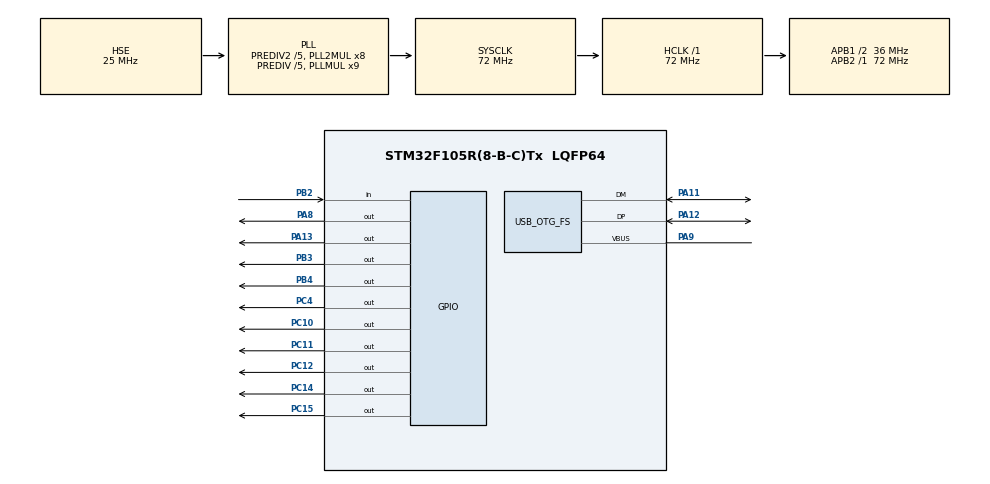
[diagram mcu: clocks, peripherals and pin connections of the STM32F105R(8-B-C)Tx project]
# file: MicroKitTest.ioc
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Mcu.Family=STM32F1
Mcu.Name=STM32F105R(8-B-C)Tx
Mcu.Package=LQFP64
NVIC.OTG_FS_IRQn=true\:0\:0\:false\:false\:true
NVIC.PriorityGroup=NVIC_PRIORITYGROUP_4
PA11.Mode=Device_Only
PA11.Signal=USB_OTG_FS_DM
PA12.Mode=Device_Only
PA12.Signal=USB_OTG_FS_DP
PA13.GPIO_Speed=GPIO_SPEED_FREQ_MEDIUM
PA13.PinState=GPIO_PIN_SET
PA13.Signal=GPIO_Output
PA8.PinState=GPIO_PIN_RESET
PA8.Signal=GPIO_Output
PA9.Mode=Activate_VBUS
PA9.Signal=USB_OTG_FS_VBUS
PB2.Signal=GPIO_Input
PB3.GPIO_Speed=GPIO_SPEED_FREQ_MEDIUM
PB3.PinState=GPIO_PIN_SET
PB3.Signal=GPIO_Output
PB4.GPIO_Speed=GPIO_SPEED_FREQ_MEDIUM
PB4.PinState=GPIO_PIN_SET
PB4.Signal=GPIO_Output
PC10.PinState=GPIO_PIN_SET
PC10.Signal=GPIO_Output
PC11.PinState=GPIO_PIN_SET
PC11.Signal=GPIO_Output
PC12.Signal=GPIO_Output
PC14-OSC32_IN.GPIO_ModeDefaultOutputPP=GPIO_MODE_OUTPUT_OD
PC14-OSC32_IN.PinState=GPIO_PIN_SET
PC14-OSC32_IN.Signal=GPIO_Output
PC15-OSC32_OUT.PinState=GPIO_PIN_SET
PC15-OSC32_OUT.Signal=GPIO_Output
PC4.Signal=GPIO_Output
PD0-OSC_IN.Mode=HSE-External-Oscillator
PD0-OSC_IN.Signal=RCC_OSC_IN
PD1-OSC_OUT.Mode=HSE-External-Oscillator
PD1-OSC_OUT.Signal=RCC_OSC_OUT
ProjectManager.HeapSize=0x200
ProjectManager.StackSize=0x400
ProjectManager.TargetToolchain=SW4STM32
RCC.AHBFreq_Value=72000000
RCC.APB1CLKDivider=RCC_HCLK_DIV2
RCC.APB1Freq_Value=36000000
RCC.APB1TimFreq_Value=72000000
RCC.APB2Freq_Value=72000000
RCC.APB2TimFreq_Value=72000000
RCC.HCLKFreq_Value=72000000
RCC.HSEDivPLL=RCC_HSE_PREDIV_DIV5
RCC.HSE_VALUE=25000000
RCC.HSIState=RCC_HSI_ON
RCC.PLLMUL=RCC_PLL_MUL9
RCC.Prediv1Source=RCC_PREDIV1_SOURCE_PLL2
RCC.Prediv2=RCC_HSE_PREDIV2_DIV5
RCC.SYSCLKFreq_VALUE=72000000
RCC.SYSCLKSource=RCC_SYSCLKSOURCE_PLLCLK
RCC.USBFreq_Value=48000000
USB_DEVICE.CLASS_NAME_FS=CDC
USB_DEVICE.USBD_HandleTypeDef=hUsbDeviceFS
USB_DEVICE.VirtualMode=Cdc
USB_DEVICE.VirtualModeFS=Cdc_FS
USB_OTG_FS.VirtualMode=Device_Only
USB_OTG_FS.vbus_sensing_enable=ENABLE
VP_SYS_VS_ND.Mode=No_Debug
VP_USB_DEVICE_VS_USB_DEVICE_CDC_FS.Mode=CDC_FS
board=MicroKitTest

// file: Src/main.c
/**
  ******************************************************************************
  * File Name          : main.c
  * Description        : Main program body
  ******************************************************************************
  *
  * COPYRIGHT(c) 2016 STMicroelectronics
  *
  * Redistribution and use in source and binary forms, with or without modification,
  * are permitted provided that the following conditions are met:
  *   1. Redistributions of source code must retain the above copyright notice,
  *      this list of conditions and the following disclaimer.
  *   2. Redistributions in binary form must reproduce the above copyright notice,
  *      this list of conditions and the following disclaimer in the documentation
  *      and/or other materials provided with the distribution.
  *   3. Neither the name of STMicroelectronics nor the names of its contributors
  *      may be used to endorse or promote products derived from this software
  *      without specific prior written permission.
  *
  * THIS SOFTWARE IS PROVIDED BY THE COPYRIGHT HOLDERS AND CONTRIBUTORS "AS IS"
  * AND ANY EXPRESS OR IMPLIED WARRANTIES, INCLUDING, BUT NOT LIMITED TO, THE
  * IMPLIED WARRANTIES OF MERCHANTABILITY AND FITNESS FOR A PARTICULAR PURPOSE ARE
  * DISCLAIMED. IN NO EVENT SHALL THE COPYRIGHT HOLDER OR CONTRIBUTORS BE LIABLE
  * FOR ANY DIRECT, INDIRECT, INCIDENTAL, SPECIAL, EXEMPLARY, OR CONSEQUENTIAL
  * DAMAGES (INCLUDING, BUT NOT LIMITED TO, PROCUREMENT OF SUBSTITUTE GOODS OR
  * SERVICES; LOSS OF USE, DATA, OR PROFITS; OR BUSINESS INTERRUPTION) HOWEVER
  * CAUSED AND ON ANY THEORY OF LIABILITY, WHETHER IN CONTRACT, STRICT LIABILITY,
  * OR TORT (INCLUDING NEGLIGENCE OR OTHERWISE) ARISING IN ANY WAY OUT OF THE USE
  * OF THIS SOFTWARE, EVEN IF ADVISED OF THE POSSIBILITY OF SUCH DAMAGE.
  *
  ******************************************************************************
  */
#include "stm32f1xx_hal.h"
#include "usb_device.h"
#include "gpio.h"

/* USER CODE BEGIN PV */
/* Private variables ---------------------------------------------------------*/

/* USER CODE END PV */

void SystemClock_Config(void);

/* USER CODE BEGIN PFP */
/* Private function prototypes -----------------------------------------------*/

/* USER CODE END PFP */

int main(void)
{

  /* MCU Configuration----------------------------------------------------------*/

  /* Reset of all peripherals, Initializes the Flash interface and the Systick. */
  HAL_Init();

  /* Configure the system clock */
  SystemClock_Config();

  /* Initialize all configured peripherals */
  MX_GPIO_Init();
  MX_USB_DEVICE_Init();

  /* Infinite loop */
  /* USER CODE BEGIN WHILE */

  /*Configure GPIO pin Output Level */

  //__HAL_RCC_GPIOB_CLK_ENABLE();
  //__HAL_RCC_GPIOC_CLK_ENABLE();

  uint8_t HiMsg[]="hello\r\n";
  int set = 0;
  HAL_Delay(1000);
  HAL_GPIO_WritePin(GPIOA, GPIO_PIN_8, GPIO_PIN_SET);
  HAL_Delay(1000);

  GPIO_InitTypeDef GPIO_InitStruct;
  /*Configure GPIO pin : PB2 */
  GPIO_InitStruct.Pin = GPIO_PIN_5;
  GPIO_InitStruct.Mode = GPIO_MODE_INPUT;
  GPIO_InitStruct.Pull = GPIO_NOPULL;
  HAL_GPIO_Init(GPIOB, &GPIO_InitStruct);

  //HAL_GPIO_WritePin(GPIOA, GPIO_PIN_8, GPIO_PIN_SET);
  while (1)
  {
  /* USER CODE END WHILE */

  /* USER CODE BEGIN 3 */
	  HAL_Delay(1000);
	  //HAL_GPIO_TogglePin(GPIOA, GPIO_PIN_13);
	  if (set == 0){
		  HAL_GPIO_WritePin(GPIOC, GPIO_PIN_15, GPIO_PIN_SET);
		  HAL_GPIO_WritePin(GPIOC, GPIO_PIN_10, GPIO_PIN_SET);
		  HAL_GPIO_WritePin(GPIOA, GPIO_PIN_13, GPIO_PIN_SET);
		  HAL_GPIO_WritePin(GPIOA, GPIO_PIN_14, GPIO_PIN_SET);
		  HAL_GPIO_WritePin(GPIOC, GPIO_PIN_11, GPIO_PIN_SET);
		  HAL_GPIO_WritePin(GPIOC, GPIO_PIN_12, GPIO_PIN_SET);
		  HAL_GPIO_WritePin(GPIOB, GPIO_PIN_3,GPIO_PIN_SET);
		  HAL_GPIO_WritePin(GPIOB, GPIO_PIN_4,GPIO_PIN_SET);
		  set = 1;
	  }
	  else{
		  set =0;
		  HAL_GPIO_WritePin(GPIOC, GPIO_PIN_15, GPIO_PIN_RESET);
		  HAL_GPIO_WritePin(GPIOC, GPIO_PIN_10, GPIO_PIN_RESET);
		  HAL_GPIO_WritePin(GPIOA, GPIO_PIN_13, GPIO_PIN_RESET);
		  HAL_GPIO_WritePin(GPIOA, GPIO_PIN_14, GPIO_PIN_RESET);
		  HAL_GPIO_WritePin(GPIOC, GPIO_PIN_11, GPIO_PIN_RESET);
		  HAL_GPIO_WritePin(GPIOC, GPIO_PIN_12, GPIO_PIN_RESET);
		  HAL_GPIO_WritePin(GPIOB, GPIO_PIN_3,GPIO_PIN_RESET);
		  HAL_GPIO_WritePin(GPIOB, GPIO_PIN_4,GPIO_PIN_RESET);
	  }
	  //CDC_Transmit_FS(HiMsg,strlen(HiMsg));
  }
  /* USER CODE END 3 */

}

/** System Clock Configuration
*/
void SystemClock_Config(void)
{

  RCC_OscInitTypeDef RCC_OscInitStruct;
  RCC_ClkInitTypeDef RCC_ClkInitStruct;
  RCC_PeriphCLKInitTypeDef PeriphClkInit;

  RCC_OscInitStruct.OscillatorType = RCC_OSCILLATORTYPE_HSE;
  RCC_OscInitStruct.HSEState = RCC_HSE_ON;
  RCC_OscInitStruct.HSEPredivValue = RCC_HSE_PREDIV_DIV5;
  RCC_OscInitStruct.Prediv1Source = RCC_PREDIV1_SOURCE_PLL2;
  RCC_OscInitStruct.PLL.PLLState = RCC_PLL_ON;
  RCC_OscInitStruct.PLL.PLLSource = RCC_PLLSOURCE_HSE;
  RCC_OscInitStruct.PLL.PLLMUL = RCC_PLL_MUL9;
  RCC_OscInitStruct.PLL2.PLL2State = RCC_PLL2_ON;
  RCC_OscInitStruct.PLL2.PLL2MUL = RCC_PLL2_MUL8;
  RCC_OscInitStruct.PLL2.HSEPrediv2Value = RCC_HSE_PREDIV2_DIV5;
  HAL_RCC_OscConfig(&RCC_OscInitStruct);

  RCC_ClkInitStruct.ClockType = RCC_CLOCKTYPE_HCLK|RCC_CLOCKTYPE_SYSCLK
                              |RCC_CLOCKTYPE_PCLK1|RCC_CLOCKTYPE_PCLK2;
  RCC_ClkInitStruct.SYSCLKSource = RCC_SYSCLKSOURCE_PLLCLK;
  RCC_ClkInitStruct.AHBCLKDivider = RCC_SYSCLK_DIV1;
  RCC_ClkInitStruct.APB1CLKDivider = RCC_HCLK_DIV2;
  RCC_ClkInitStruct.APB2CLKDivider = RCC_HCLK_DIV1;
  HAL_RCC_ClockConfig(&RCC_ClkInitStruct, FLASH_LATENCY_2);

  PeriphClkInit.PeriphClockSelection = RCC_PERIPHCLK_USB;
  PeriphClkInit.UsbClockSelection = RCC_USBCLKSOURCE_PLL_DIV3;
  HAL_RCCEx_PeriphCLKConfig(&PeriphClkInit);

  HAL_SYSTICK_Config(HAL_RCC_GetHCLKFreq()/1000);

  HAL_SYSTICK_CLKSourceConfig(SYSTICK_CLKSOURCE_HCLK);

  __HAL_RCC_PLLI2S_ENABLE();

  /* SysTick_IRQn interrupt configuration */
  HAL_NVIC_SetPriority(SysTick_IRQn, 0, 0);
}

/************************ (C) COPYRIGHT STMicroelectronics *****END OF FILE****/
